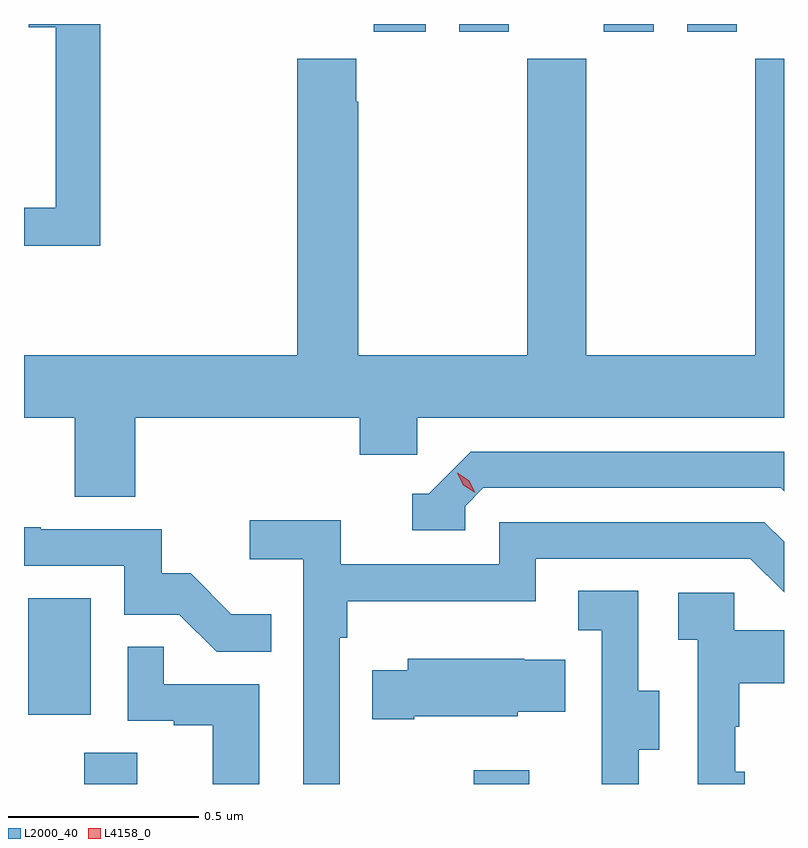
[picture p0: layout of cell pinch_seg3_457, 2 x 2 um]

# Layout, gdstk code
import gdstk
lib = gdstk.Library(unit=1e-6, precision=1e-09)
def R(c, l, rs):  # rectangles x0, y0, x1, y1
    for r in rs: c.add(gdstk.rectangle(r[:2], r[2:], *l))
def P(c, l, *ps):  # polygons
    for p in ps: c.add(gdstk.Polygon(p, *l))
L2000_40 = (2000, 40)
L4158_0 = (4158, 0)

pinch_seg3_457 = lib.new_cell('pinch_seg3_457')
R(pinch_seg3_457, L2000_40, [(938.471,675.976,938.611,676.058), (939.496,675.976,939.643,676.012), (938.324,676.158,938.488,676.465), (939.233,677.955,939.37,677.976), (939.458,677.955,939.589,677.976), (939.839,677.955,939.97,677.976), (940.058,677.955,940.189,677.976)])
P(pinch_seg3_457, L2000_40, [(938.513,677.976),(938.325,677.976),(938.325,677.967),(938.397,677.967),(938.397,677.493),(938.313,677.493),(938.313,677.392),(938.513,677.392)],
  [(938.606,676.94),(939.197,676.94),(939.197,676.842),(939.348,676.842),(939.348,676.94),(940.313,676.94),(940.313,677.884),(940.237,677.884),(940.237,677.104),(939.792,677.104),(939.792,677.884),(939.637,677.884),(939.637,677.104),(939.192,677.104),(939.192,677.771),(939.187,677.771),(939.187,677.884),(939.032,677.884),(939.032,677.104),(938.313,677.104),(938.313,676.94),(938.446,676.94),(938.446,676.732),(938.606,676.732)],
  [(939.474,676.707),(939.522,676.755),(940.305,676.755),(940.313,676.747),(940.313,676.851),(939.489,676.851),(939.378,676.74),(939.335,676.74),(939.335,676.644),(939.474,676.644)],
  [(939.144,676.361),(939.164,676.361),(939.164,676.457),(939.66,676.457),(939.66,676.569),(940.224,676.569),(940.313,676.48),(940.313,676.613),(940.261,676.665),(939.564,676.665),(939.564,676.554),(939.146,676.554),(939.146,676.67),(938.907,676.67),(938.907,676.568),(939.048,676.568),(939.048,675.976),(939.144,675.976)],
  [(938.963,676.423),(938.859,676.423),(938.752,676.53),(938.676,676.53),(938.676,676.647),(938.357,676.647),(938.357,676.652),(938.313,676.652),(938.313,676.551),(938.577,676.551),(938.577,676.422),(938.722,676.422),(938.82,676.324),(938.963,676.324)],
  [(939.931,676.066),(939.985,676.066),(939.985,676.221),(939.93,676.221),(939.93,676.484),(939.771,676.484),(939.771,676.381),(939.834,676.381),(939.834,676.077),(939.833,676.077),(939.833,675.976),(939.931,675.976)],
  [(940.21,676.008),(940.185,676.008),(940.185,676.127),(940.195,676.127),(940.195,676.241),(940.313,676.241),(940.313,676.381),(940.182,676.381),(940.182,676.479),(940.035,676.479),(940.035,676.355),(940.086,676.355),(940.086,675.976),(940.21,675.976)],
  [(938.932,676.239),(938.681,676.239),(938.681,676.337),(938.586,676.337),(938.586,676.143),(938.707,676.143),(938.707,676.131),(938.81,676.131),(938.81,675.976),(938.932,675.976)],
  [(939.34,676.154),(939.612,676.154),(939.612,676.166),(939.737,676.166),(939.737,676.303),(939.629,676.303),(939.629,676.306),(939.323,676.306),(939.323,676.276),(939.229,676.276),(939.229,676.147),(939.34,676.147)])
P(pinch_seg3_457, L4158_0, [(939.5,676.743),(939.469,676.762),(939.453,676.795),(939.453,676.795),(939.453,676.795),(939.484,676.776),(939.501,676.743),(939.501,676.743)])

lib.write_gds('pinch_seg3_457.gds')
